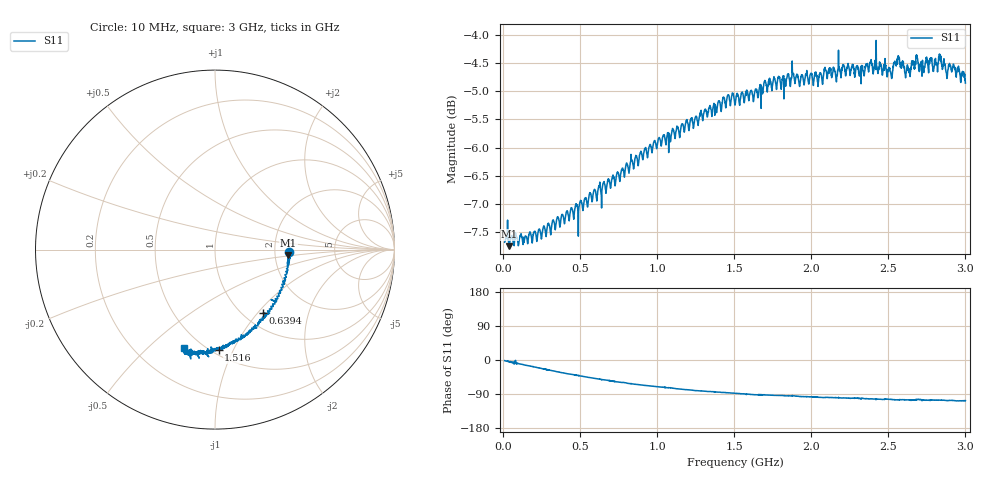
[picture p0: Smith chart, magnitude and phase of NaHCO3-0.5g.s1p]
# HZ S RI R 50
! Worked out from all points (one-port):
!   2020 points, 10 MHz to 3 GHz, reference 50 ohm
!   lowest |S11| = -7.7 dB at 39.62 MHz (marker M1), VSWR 2.39, Z = 119 - j9.08 ohm
!   |S11| at or under -10 dB: nowhere
!   S11 on the Smith chart (normalised r, x): 10 MHz: 2.41, -0.07; 639.4 MHz: 1.22, -1.07; 1.516 GHz: 0.54, -0.88; 3 GHz: 0.40, -0.65
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1e7  0.4131 -0.0125
3.961862e7  0.4088 -0.0318
1.877117e8  0.3961 -0.1216
3.846755e8  0.3641 -0.2423
6.393957e8  0.2689 -0.3524
7.578702e8  0.2439 -0.3992
9.089251e8  0.1949 -0.4495
1.085156e9  0.1451 -0.4859
1.132546e9  0.1265 -0.5067
1.259906e9  0.084 -0.5228
1.50574e9  0.0217 -0.5465
1.516107e9  0.0196 -0.5585
1.639024e9  -0.0163 -0.5646
1.878935e9  -0.0462 -0.5818
2.067013e9  -0.0874 -0.5723
2.25361e9  -0.1109 -0.5717
2.289153e9  -0.1082 -0.5774
2.45946e9  -0.1412 -0.5658
2.514254e9  -0.1405 -0.5677
2.567568e9  -0.152 -0.5824
2.626805e9  -0.1565 -0.5696
2.659386e9  -0.163 -0.5743
2.699371e9  -0.1447 -0.5676
2.757127e9  -0.1635 -0.5705
2.835616e9  -0.1637 -0.5835
2.877082e9  -0.1706 -0.5582
2.948167e9  -0.1783 -0.5618
3e9  -0.1704 -0.5457
